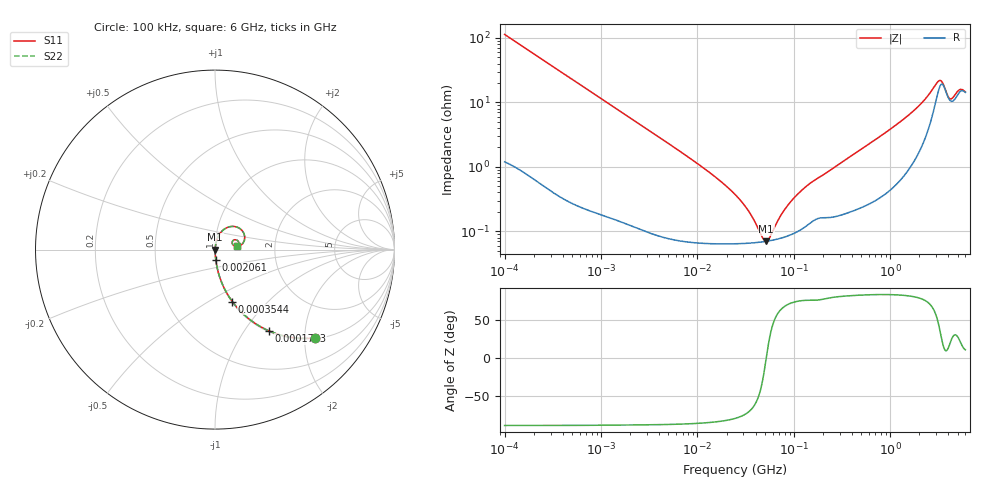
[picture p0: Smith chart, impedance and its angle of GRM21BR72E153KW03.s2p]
!Murata Part Number: GRM21BR72E153KW03
!These Parameters are Measured in Series Mode Connection
!Data Generated on Mar 30, 2021
!  o--ll--o
!Port1  Port2
!  o------o
!Operation Temp=25[degC], DC Bias Voltage=0[V]
!Freq. Start=100[kHz] Stop=6[GHz] 401[Steps]
# Hz S RI R 50
!Freq.(Hz) S11(Real) S11(Imag) S21(Real) S21(Imag) S12(Real) S12(Imag) S22(Real) S22(Imag)
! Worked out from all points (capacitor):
!   401 points, 100 kHz to 6 GHz, reference 50 ohm
!   read as one part in series: C = 14.1 nF near 105.7 kHz
!   lowest |Z| = 69.8 mohm at 51.48 MHz (marker M1)
!   series resonance near 51.7 MHz, so ESL is about 670 pH
!   S11 on the Smith chart (normalised r, x): 100 kHz: 1.02, -2.26; 173.3 kHz: 1.01, -1.31; 354.4 kHz: 1.01, -0.64; 2.061 MHz: 1.00, -0.11; 6 GHz: 1.29, +0.05
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100000  0.5598 -0.4911  0.4402 0.4911  0.4402 0.4911  0.5598 -0.4911
173344  0.3021 -0.4535  0.6979 0.4535  0.6979 0.4535  0.3021 -0.4535
354395  0.0964 -0.2896  0.9036 0.2896  0.9036 0.2896  0.0964 -0.2896
631452  0.0338 -0.1745  0.9662 0.1745  0.9662 0.1745  0.0338 -0.1745
2060590  0.00431 -0.0556  0.9957 0.0556  0.9957 0.0556  0.00431 -0.0556
3987316  0.00167 -0.0288  0.9983 0.0288  0.9983 0.0288  0.00167 -0.0288
1.337449e7  0.000708 -0.0081  0.9993 0.0081  0.9993 0.0081  0.000708 -0.0081
2.517799e7  0.000652 -0.00352  0.9993 0.00352  0.9993 0.00352  0.000652 -0.00352
3.407377e7  0.000657 -0.00193  0.9993 0.00193  0.9993 0.00193  0.000657 -0.00193
4.739851e7  0.000686 -0.00039  0.9993 0.00039  0.9993 0.00039  0.000686 -0.00039
5.147553e7  0.000698 -1.95e-05  0.9993 1.95e-05  0.9993 1.95e-05  0.000698 -1.95e-05
5.590324e7  0.000712 0.00035  0.9993 -0.00035  0.9993 -0.00035  0.000712 0.00035
7.160533e7  0.000776 0.00148  0.9992 -0.00148  0.9992 -0.00148  0.000776 0.00148
8.680865e7  0.000854 0.00241  0.9991 -0.00241  0.9991 -0.00241  0.000854 0.00241
1.546735e8  0.00144 0.00567  0.9986 -0.00567  0.9986 -0.00567  0.00144 0.00567
9.76689e8  0.00558 0.0369  0.9944 -0.0369  0.9944 -0.0369  0.00558 0.0369
2.229039e9  0.0341 0.0977  0.9659 -0.0977  0.9659 -0.0977  0.0341 0.0977
3.100717e9  0.1369 0.1186  0.8631 -0.1186  0.8631 -0.1186  0.1369 0.1186
3.367428e9  0.166 0.0705  0.834 -0.0705  0.834 -0.0705  0.166 0.0705
4.19625e9  0.0967 0.0326  0.9033 -0.0326  0.9033 -0.0326  0.0967 0.0326
5.229069e9  0.1289 0.0468  0.8711 -0.0468  0.8711 -0.0468  0.1289 0.0468
6e9  0.1253 0.0204  0.8747 -0.0204  0.8747 -0.0204  0.1253 0.0204
